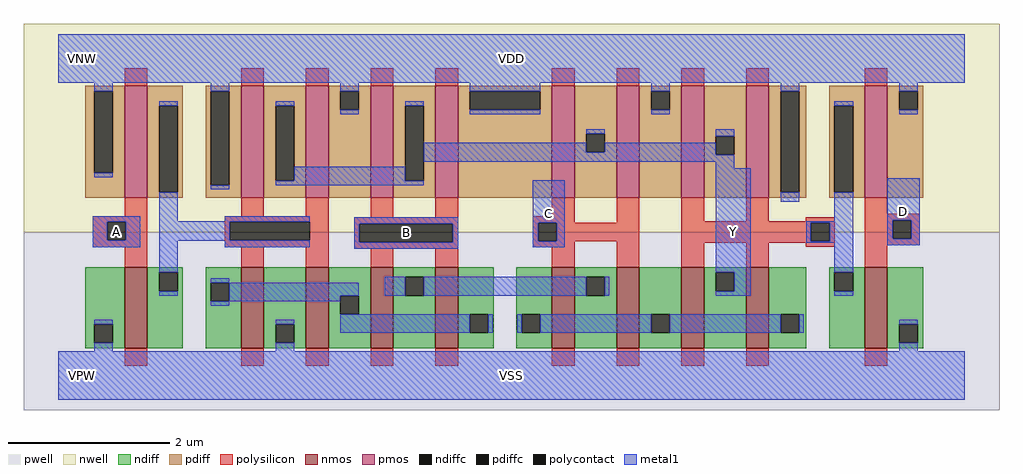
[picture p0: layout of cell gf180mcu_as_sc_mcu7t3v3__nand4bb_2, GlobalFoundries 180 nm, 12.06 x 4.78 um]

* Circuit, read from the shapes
.subckt gf180mcu_as_sc_mcu7t3v3__nand4bb_2 VDD VNW VPW VSS A B C D Y
XM1 n1 A VSS VPW nfet_03v3 w=1u l=0.28u
XM2 VSS n1 n2 VPW nfet_03v3 w=1u l=0.28u m=2
XM3 n3 B n2 VPW nfet_03v3 w=1u l=0.28u m=2
XM4 n3 C n4 VPW nfet_03v3 w=1u l=0.28u m=2
XM5 Y n5 n4 VPW nfet_03v3 w=1u l=0.28u m=2
XM6 VSS D n5 VPW nfet_03v3 w=1u l=0.28u
XM7 n1 A VDD VNW pfet_03v3 w=1.38u l=0.28u
XM8 Y n1 VDD VNW pfet_03v3 w=1.38u l=0.28u m=2
XM9 Y B VDD VNW pfet_03v3 w=1.38u l=0.28u m=2
XM10 Y C VDD VNW pfet_03v3 w=1.38u l=0.28u m=2
XM11 Y n5 VDD VNW pfet_03v3 w=1.38u l=0.28u m=2
XM12 VDD D n5 VNW pfet_03v3 w=1.38u l=0.28u
.ends

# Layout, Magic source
magic
tech gf180mcuD
magscale 1 10
<< nwell >>
rect -86 354 2326 870
<< pwell >>
rect -86 -86 2326 354
<< nmos >>
rect 164 68 220 268
rect 452 68 508 268
rect 612 68 668 268
rect 772 68 828 268
rect 932 68 988 268
rect 1220 68 1276 268
rect 1380 68 1436 268
rect 1540 68 1596 268
rect 1700 68 1756 268
rect 1993 68 2049 268
<< pmos >>
rect 164 440 220 716
rect 452 440 508 716
rect 612 440 668 716
rect 772 440 828 716
rect 932 440 988 716
rect 1220 440 1276 716
rect 1380 440 1436 716
rect 1540 440 1596 716
rect 1700 440 1756 716
rect 1993 440 2049 716
<< ndiff >>
rect 66 127 164 268
rect 66 81 89 127
rect 135 81 164 127
rect 66 68 164 81
rect 220 255 308 268
rect 220 209 249 255
rect 295 209 308 255
rect 220 68 308 209
rect 364 230 452 268
rect 364 184 377 230
rect 423 184 452 230
rect 364 68 452 184
rect 508 127 612 268
rect 508 81 537 127
rect 583 81 612 127
rect 508 68 612 81
rect 668 198 772 268
rect 668 152 697 198
rect 743 152 772 198
rect 668 68 772 152
rect 828 244 932 268
rect 828 198 857 244
rect 903 198 932 244
rect 828 68 932 198
rect 988 152 1076 268
rect 988 106 1017 152
rect 1063 106 1076 152
rect 988 68 1076 106
rect 1132 152 1220 268
rect 1132 106 1145 152
rect 1191 106 1220 152
rect 1132 68 1220 106
rect 1276 244 1380 268
rect 1276 198 1305 244
rect 1351 198 1380 244
rect 1276 68 1380 198
rect 1436 152 1540 268
rect 1436 106 1465 152
rect 1511 106 1540 152
rect 1436 68 1540 106
rect 1596 255 1700 268
rect 1596 209 1625 255
rect 1671 209 1700 255
rect 1596 68 1700 209
rect 1756 152 1849 268
rect 1756 106 1785 152
rect 1831 106 1849 152
rect 1756 68 1849 106
rect 1905 255 1993 268
rect 1905 209 1918 255
rect 1964 209 1993 255
rect 1905 68 1993 209
rect 2049 127 2137 268
rect 2049 81 2078 127
rect 2124 81 2137 127
rect 2049 68 2137 81
<< pdiff >>
rect 66 703 164 716
rect 66 501 89 703
rect 135 501 164 703
rect 66 440 164 501
rect 220 667 308 716
rect 220 453 249 667
rect 295 453 308 667
rect 220 440 308 453
rect 364 703 452 716
rect 364 471 377 703
rect 423 471 452 703
rect 364 440 452 471
rect 508 667 612 716
rect 508 481 537 667
rect 583 481 612 667
rect 508 440 612 481
rect 668 703 772 716
rect 668 657 697 703
rect 743 657 772 703
rect 668 440 772 657
rect 828 667 932 716
rect 828 481 857 667
rect 903 481 932 667
rect 828 440 932 481
rect 988 703 1220 716
rect 988 657 1017 703
rect 1191 657 1220 703
rect 988 440 1220 657
rect 1276 598 1380 716
rect 1276 552 1305 598
rect 1351 552 1380 598
rect 1276 440 1380 552
rect 1436 703 1540 716
rect 1436 657 1465 703
rect 1511 657 1540 703
rect 1436 440 1540 657
rect 1596 592 1700 716
rect 1596 546 1625 592
rect 1671 546 1700 592
rect 1596 440 1700 546
rect 1756 703 1849 716
rect 1756 453 1785 703
rect 1831 453 1849 703
rect 1756 440 1849 453
rect 1905 667 1993 716
rect 1905 453 1918 667
rect 1964 453 1993 667
rect 1905 440 1993 453
rect 2049 703 2137 716
rect 2049 657 2078 703
rect 2124 657 2137 703
rect 2049 440 2137 657
<< ndiffc >>
rect 89 81 135 127
rect 249 209 295 255
rect 377 184 423 230
rect 537 81 583 127
rect 697 152 743 198
rect 857 198 903 244
rect 1017 106 1063 152
rect 1145 106 1191 152
rect 1305 198 1351 244
rect 1465 106 1511 152
rect 1625 209 1671 255
rect 1785 106 1831 152
rect 1918 209 1964 255
rect 2078 81 2124 127
<< pdiffc >>
rect 89 501 135 703
rect 249 453 295 667
rect 377 471 423 703
rect 537 481 583 667
rect 697 657 743 703
rect 857 481 903 667
rect 1017 657 1191 703
rect 1305 552 1351 598
rect 1465 657 1511 703
rect 1625 546 1671 592
rect 1785 453 1831 703
rect 1918 453 1964 667
rect 2078 657 2124 703
<< polysilicon >>
rect 164 716 220 760
rect 452 716 508 760
rect 612 716 668 760
rect 772 716 828 760
rect 932 716 988 760
rect 1220 716 1276 760
rect 1380 716 1436 760
rect 1540 716 1596 760
rect 1700 716 1756 760
rect 1993 716 2049 760
rect 164 394 220 440
rect 452 394 508 440
rect 612 394 668 440
rect 85 380 220 394
rect 85 334 121 380
rect 167 334 220 380
rect 85 317 220 334
rect 411 380 668 394
rect 772 391 828 440
rect 932 391 988 440
rect 1220 394 1276 440
rect 411 334 424 380
rect 621 334 668 380
rect 411 317 668 334
rect 164 268 220 317
rect 452 268 508 317
rect 612 268 668 317
rect 731 375 988 391
rect 731 329 744 375
rect 975 329 988 375
rect 731 314 988 329
rect 1172 378 1276 394
rect 1380 378 1436 440
rect 1172 332 1186 378
rect 1232 332 1436 378
rect 1172 317 1276 332
rect 772 268 828 314
rect 932 268 988 314
rect 1220 268 1276 317
rect 1380 268 1436 332
rect 1540 382 1596 440
rect 1700 382 1756 440
rect 1993 400 2049 440
rect 1847 382 1919 391
rect 1540 378 1919 382
rect 1540 332 1860 378
rect 1906 332 1919 378
rect 1540 328 1919 332
rect 1540 268 1596 328
rect 1700 268 1756 328
rect 1847 319 1919 328
rect 1993 384 2129 400
rect 1993 338 2062 384
rect 2108 338 2129 384
rect 1993 322 2129 338
rect 1993 268 2049 322
rect 164 24 220 68
rect 452 24 508 68
rect 612 24 668 68
rect 772 24 828 68
rect 932 24 988 68
rect 1220 24 1276 68
rect 1380 24 1436 68
rect 1540 24 1596 68
rect 1700 24 1756 68
rect 1993 24 2049 68
<< polycontact >>
rect 121 334 167 380
rect 424 334 621 380
rect 744 329 975 375
rect 1186 332 1232 378
rect 1860 332 1906 378
rect 2062 338 2108 384
<< metal1 >>
rect 0 724 2240 844
rect 89 703 135 724
rect 377 703 423 724
rect 89 490 135 501
rect 249 667 295 678
rect 697 703 743 724
rect 377 460 423 471
rect 537 667 583 678
rect 1017 703 1191 724
rect 697 646 743 657
rect 857 667 903 678
rect 583 481 857 516
rect 1017 646 1191 657
rect 1465 703 1511 724
rect 1465 646 1511 657
rect 1785 703 1831 724
rect 1305 598 1351 609
rect 903 552 1305 575
rect 1625 592 1671 609
rect 1351 552 1625 575
rect 903 546 1625 552
rect 903 529 1671 546
rect 1625 512 1671 529
rect 537 470 903 481
rect 85 380 203 394
rect 85 334 121 380
rect 167 334 203 380
rect 85 317 203 334
rect 249 381 295 453
rect 411 381 621 394
rect 249 380 621 381
rect 249 334 424 380
rect 249 333 621 334
rect 249 255 295 333
rect 411 317 621 333
rect 731 375 988 391
rect 731 329 744 375
rect 975 329 988 375
rect 731 314 988 329
rect 1172 378 1252 483
rect 1172 332 1186 378
rect 1232 332 1252 378
rect 1172 317 1252 332
rect 1625 255 1711 512
rect 2078 703 2124 724
rect 1785 430 1831 453
rect 1918 667 1964 678
rect 2078 646 2124 657
rect 1918 382 1964 453
rect 1849 378 1964 382
rect 1849 332 1860 378
rect 1906 332 1964 378
rect 1849 328 1964 332
rect 249 198 295 209
rect 377 230 423 241
rect 423 198 743 230
rect 807 198 857 244
rect 903 198 1305 244
rect 1351 198 1362 244
rect 1671 209 1711 255
rect 1625 198 1711 209
rect 1918 255 1964 328
rect 2049 384 2129 488
rect 2049 338 2062 384
rect 2108 338 2129 384
rect 2049 322 2129 338
rect 1918 198 1964 209
rect 423 184 697 198
rect 377 173 423 184
rect 89 127 135 138
rect 89 60 135 81
rect 537 127 583 138
rect 697 106 1017 152
rect 1063 106 1074 152
rect 1134 106 1145 152
rect 1191 106 1465 152
rect 1511 106 1785 152
rect 1831 106 1842 152
rect 2078 127 2124 138
rect 537 60 583 81
rect 2078 60 2124 81
rect 0 -60 2240 60
<< labels >>
flabel metal1 s 0 724 2240 844 0 FreeSans 400 0 0 0 VDD
port 1 nsew power bidirectional abutment
flabel metal1 s 0 -60 2240 60 0 FreeSans 400 0 0 0 VSS
port 4 nsew ground bidirectional abutment
flabel nwell s 10 734 110 834 0 FreeSans 400 0 0 0 VNW
port 2 nsew power bidirectional
flabel pwell s 10 -50 110 50 0 FreeSans 400 0 0 0 VPW
port 3 nsew ground bidirectional
flabel metal1 731 314 988 391 0 FreeSans 200 0 0 0 B
port 6 nsew signal input
flabel metal1 1172 317 1252 483 0 FreeSans 200 0 0 0 C
port 7 nsew signal input
flabel metal1 1625 198 1711 512 0 FreeSans 200 0 0 0 Y
port 9 nsew signal output
flabel metal1 85 317 203 394 0 FreeSans 200 0 0 0 A
port 5 nsew signal input
flabel metal1 2049 322 2129 488 0 FreeSans 200 0 0 0 D
port 8 nsew signal input
<< properties >>
string FIXED_BBOX 0 0 2240 784
string LEFclass CORE
string LEFsite unithd
string LEFsymmetry X Y
string MASKHINTS_NPLUS -16 -46 2256 354
string MASKHINTS_PPLUS -16 354 2256 830
<< end >>
